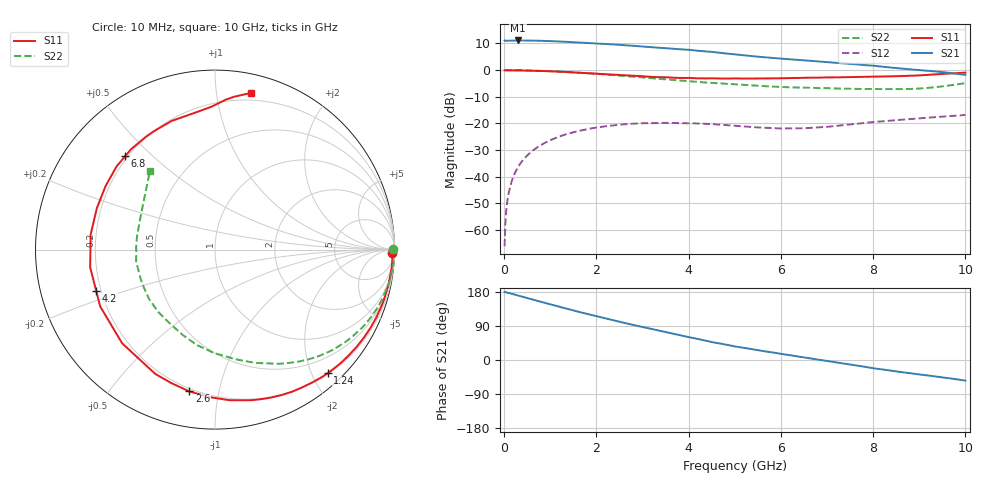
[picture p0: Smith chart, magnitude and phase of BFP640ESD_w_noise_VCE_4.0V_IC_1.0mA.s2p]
! Infineon Technologies  Discrete & RF Semiconductors
! BFP640ESD
! VCE =  4.0 V,  IC =  1.0 mA
! Common Emitter S-Parameters:  Jan 2016
# GHz  S  MA  R  50
!  f  S11  S21  S12  S22
! GHz  MAG  ANG  MAG  ANG  MAG  ANG  MAG  ANG
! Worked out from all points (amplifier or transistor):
!   233 points, 10 MHz to 10 GHz, reference 50 ohm
!   highest |S21| = 11.1 dB at 300 MHz (marker M1)
!   |S21| within 3 dB of that: start of sweep to 3.585 GHz
!   unconditionally stable (mu >= 1): start of sweep to 10.36 MHz; 5.416 GHz to 9.278 GHz
!   at 200 MHz: K = 0.03, MSG = 25.5 dB, |S12| = -39.9 dB
!   at 1.74 GHz: K = 0.17, MSG = 16.3 dB, |S12| = -22.4 dB
!   at 10 GHz: K = 0.65, MSG = 7.5 dB, |S12| = -16.8 dB
!   lowest NFmin = 0.63 dB at 450 MHz
!   S11 on the Smith chart (normalised r, x): 10 MHz: 41, -73; 1.24 GHz: 0.22, -2.24; 2.6 GHz: 0.18, -0.82; 4.2 GHz: 0.18, -0.16; 6.8 GHz: 0.19, +0.41; 10 GHz: 0.14, +1.25
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0.01  0.9884 -1.2  3.589 179.8  0.0005 4.9  0.9943 0.1
0.02  0.989 -0.8  3.549 179.9  0.0011 82.2  0.9997 -0.3
0.03  0.9891 -1.2  3.551 179.3  0.0016 84.8  0.9992 -0.6
0.05  0.9896 -2.1  3.556 178.2  0.0026 87.0  0.9982 -1.2
0.085  0.9894 -3.3  3.572 177.4  0.0043 85.5  0.9978 -1.9
0.18  0.9884 -6.8  3.589 174.3  0.0091 84.3  0.9967 -4.0
0.3  0.986 -11.4  3.596 170.2  0.0151 81.5  0.9942 -6.6
0.7  0.9697 -26.8  3.565 156.9  0.0348 71.8  0.9754 -15.3
1.24  0.9315 -47.7  3.43 139.1  0.0586 58.2  0.9328 -26.8
1.68  0.8927 -64.6  3.28 125.2  0.0744 47.6  0.8875 -35.7
2.2  0.843 -84.5  3.088 109.8  0.0887 36.3  0.8286 -45.7
2.6  0.8026 -100.3  2.936 98.1  0.0965 27.8  0.7778 -53.4
3  0.7683 -115.7  2.779 87.0  0.1009 20.0  0.7283 -60.9
3.4  0.7351 -130.8  2.612 76.3  0.1019 13.3  0.6812 -68.2
4.2  0.7006 -160.9  2.307 55.5  0.0996 2.7  0.6002 -83.8
4.5  0.7025 -172.0  2.197 47.4  0.0973 -0.9  0.576 -90.5
5.1  0.6952 170.5  1.933 34.0  0.0893 -4.4  0.5336 -102.6
6  0.705 149.8  1.644 16.2  0.0805 -2.2  0.483 -121.0
6.8  0.722 133.8  1.457 1.2  0.0843 3.7  0.4611 -138.9
7.6  0.7423 117.2  1.294 -13.8  0.0976 6.4  0.4447 -159.1
8.4  0.764 101.2  1.113 -28.4  0.1134 3.5  0.4397 176.5
10  0.8953 77.1  0.814 -54.4  0.1441 -6.9  0.5683 129.6
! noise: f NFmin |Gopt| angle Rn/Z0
0.45  0.63  0.83  11  0.4
0.9  0.7  0.75  24  0.39
1.9  0.92  0.61  55  0.31
2.4  1.1  0.54  74  0.29
5.5  1.99  0.47  -156  0.25
